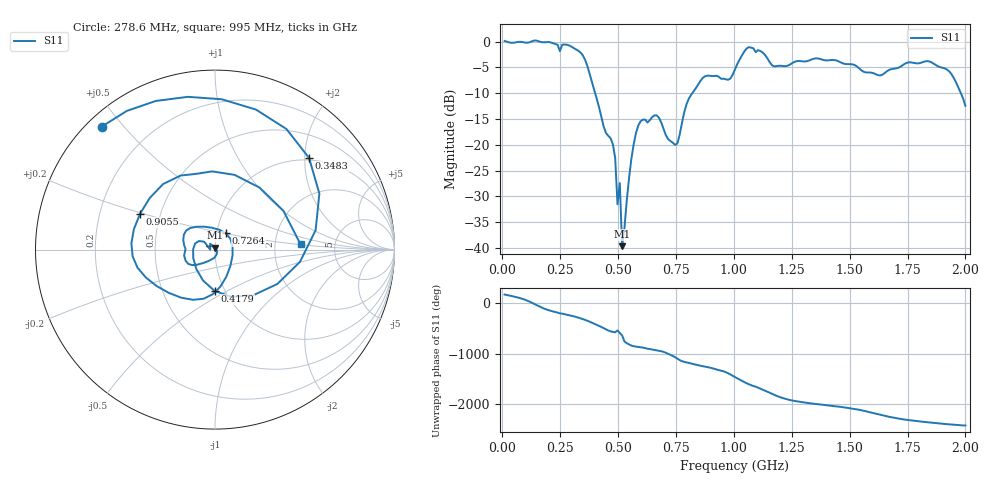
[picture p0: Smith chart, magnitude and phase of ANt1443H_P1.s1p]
!Created with skrf (http://scikit-rf.org).
# Hz S RI R 50.0
!freq ReS11 ImS11
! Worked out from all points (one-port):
!   201 points, 10 MHz to 2 GHz, reference 50 ohm
!   lowest |S11| = -39.7 dB at 517.5 MHz (marker M1), VSWR 1.02, Z = 50.1 + j1.04 ohm
!   |S11| at or under -10 dB: 400.8 MHz to 820.9 MHz (420.1 MHz wide, 68.8 % of centre); 1.98 GHz to end of sweep
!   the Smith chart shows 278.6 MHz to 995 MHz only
!   S11 on the Smith chart (normalised r, x): 278.6 MHz: 0.04, +0.44; 348.3 MHz: 0.95, +2.10; 417.9 MHz: 0.90, -0.44; 726.4 MHz: 1.11, +0.20; 905.5 MHz: 0.38, +0.19; 995 MHz: 2.81, +0.21
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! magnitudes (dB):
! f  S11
! 10 MHz  0.1
! 258.8 MHz  -0.6
! 278.6 MHz  -0.6
! 348.3 MHz  -2.7
! 417.9 MHz  -12.8
! 447.8 MHz  -17.7
! 477.6 MHz  -19.9
! 487.6 MHz  -22.6
! 497.6 MHz  -31.5
! 507.5 MHz  -27.4
! 517.5 MHz  -39.7
! 557.2 MHz  -22.8
! 587.1 MHz  -16.3
! 666.7 MHz  -14.3
! 726.4 MHz  -19.3
! 756.2 MHz  -19.7
! 806 MHz  -11.0
! 905.5 MHz  -6.7
! 995 MHz  -6.4
! 1.005 GHz  -5.4
! 1.065 GHz  -1.1
! 1.174 GHz  -4.8
! 1.254 GHz  -4.1
! 1.502 GHz  -4.4
! 1.632 GHz  -6.6
! 1.751 GHz  -4.1
! 1.92 GHz  -5.4
! 2 GHz  -12.4
